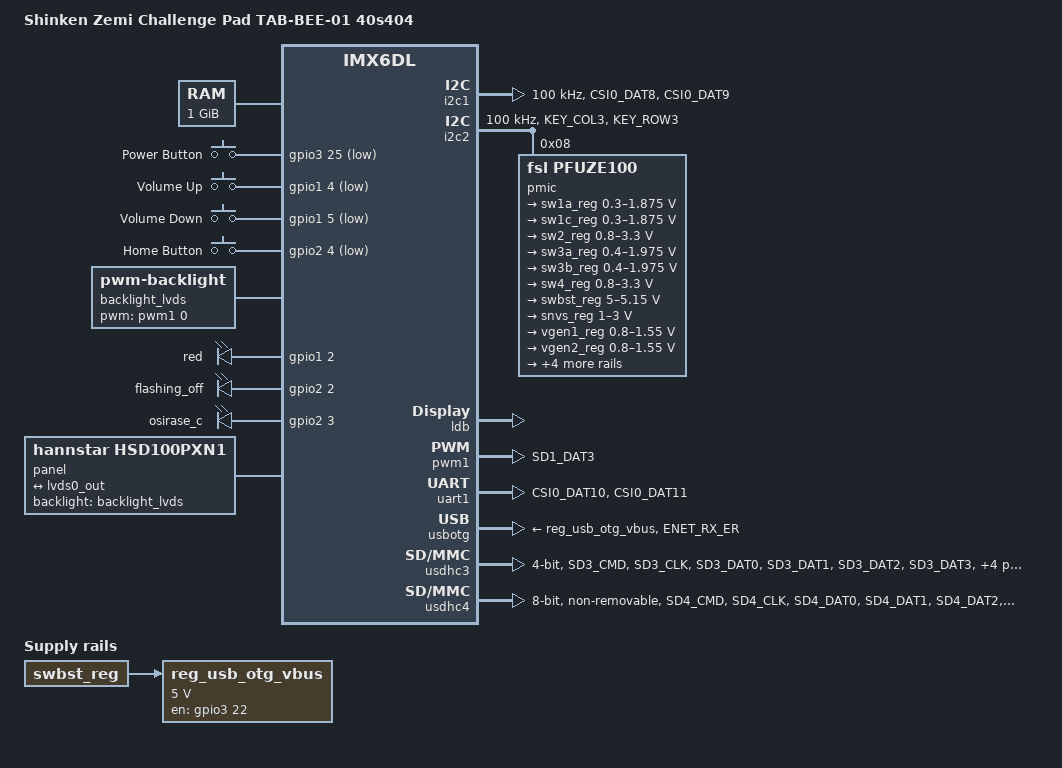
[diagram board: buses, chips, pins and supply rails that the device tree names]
// SPDX-License-Identifier: GPL-2.0
//
// Copyright (C) 2022 Suguru Saito <sg.sgch07@gmail.com>
//
// Copyright (C) 2013 Freescale Semiconductor, Inc.

/dts-v1/;

#include "imx6dl.dtsi"

#include <dt-bindings/clock/imx6qdl-clock.h>
#include <dt-bindings/gpio/gpio.h>
#include <dt-bindings/input/input.h>

/ {
	model = "Shinken Zemi Challenge Pad TAB-BEE-01 40s404";
	compatible = "benesse,imx6dl-40s404", "fsl,imx6dl";

	chosen {
		stdout-path = &uart1;
	};

	memory@10000000 {
		reg = <0x10000000 0x40000000>;
	};

	regulators {
		compatible = "simple-bus";
		#address-cells = <1>;
		#size-cells = <0>;

		reg_usb_otg_vbus: regulator@0 {
			compatible = "regulator-fixed";
			reg = <0>;
			regulator-name = "usb_otg_vbus";
			regulator-min-microvolt = <5000000>;
			regulator-max-microvolt = <5000000>;
			gpio = <&gpio3 22 0>;
			enable-active-high;
			vin-supply = <&swbst_reg>;
		};
	};

	gpio-keys {
		compatible = "gpio-keys";
		pinctrl-names = "default";
		pinctrl-0 = <&pinctrl_gpio_keys>;

		power {
			label = "Power Button";
			gpios = <&gpio3 25 GPIO_ACTIVE_LOW>;
			wakeup-source;
			linux,code = <KEY_POWER>;
		};

		volume-up {
			label = "Volume Up";
			gpios = <&gpio1 4 GPIO_ACTIVE_LOW>;
			wakeup-source;
			linux,code = <KEY_VOLUMEUP>;
		};

		volume-down {
			label = "Volume Down";
			gpios = <&gpio1 5 GPIO_ACTIVE_LOW>;
			wakeup-source;
			linux,code = <KEY_VOLUMEDOWN>;
		};

		home {
			label = "Home Button";
			gpios = <&gpio2 4 GPIO_ACTIVE_LOW>;
			wakeup-source;
			linux,code = <KEY_HOME>;
		};
	};

	backlight_lvds: backlight-lvds {
		compatible = "pwm-backlight";
		pwms = <&pwm1 0 5000000>;
		brightness-levels = <0 4 8 16 32 64 128 255>;
		default-brightness-level = <7>;
		status = "okay";
	};

	leds {
		compatible = "gpio-leds";
		pinctrl-names = "default";
		pinctrl-0 = <&pinctrl_gpio_leds>;

		red {
			gpios = <&gpio1 2 GPIO_ACTIVE_HIGH>;
			default-state = "off";
		};

		flashing_off {
			gpios = <&gpio2 2 GPIO_ACTIVE_HIGH>;
			default-state = "off";
		};

		osirase_c {
			gpios = <&gpio2 3 GPIO_ACTIVE_HIGH>;
			default-state = "off";
		};
	};

	panel {
		compatible = "hannstar,hsd100pxn1";
		backlight = <&backlight_lvds>;

		port {
			panel_in: endpoint {
				remote-endpoint = <&lvds0_out>;
			};
		};
	};
};

&clks {
	assigned-clocks = <&clks IMX6QDL_CLK_LDB_DI0_SEL>,
			  <&clks IMX6QDL_CLK_LDB_DI1_SEL>;
	assigned-clock-parents = <&clks IMX6QDL_CLK_PLL3_USB_OTG>,
				 <&clks IMX6QDL_CLK_PLL3_USB_OTG>;
};

&i2c1 {
	clock-frequency = <100000>;
	pinctrl-names = "default";
	pinctrl-0 = <&pinctrl_i2c1>;
	status = "okay";
};

&i2c2 {
	clock-frequency = <100000>;
	pinctrl-names = "default";
	pinctrl-0 = <&pinctrl_i2c2>;
	status = "okay";

	pmic: pfuze100@8 {
		compatible = "fsl,pfuze100";
		reg = <0x08>;

		regulators {
			sw1a_reg: sw1ab {
				regulator-min-microvolt = <300000>;
				regulator-max-microvolt = <1875000>;
				regulator-boot-on;
				regulator-always-on;
				regulator-ramp-delay = <6250>;
			};

			sw1c_reg: sw1c {
				regulator-min-microvolt = <300000>;
				regulator-max-microvolt = <1875000>;
				regulator-boot-on;
				regulator-always-on;
				regulator-ramp-delay = <6250>;
			};

			sw2_reg: sw2 {
				regulator-min-microvolt = <800000>;
				regulator-max-microvolt = <3300000>;
				regulator-boot-on;
				regulator-always-on;
				regulator-ramp-delay = <6250>;
			};

			sw3a_reg: sw3a {
				regulator-min-microvolt = <400000>;
				regulator-max-microvolt = <1975000>;
				regulator-boot-on;
				regulator-always-on;
			};

			sw3b_reg: sw3b {
				regulator-min-microvolt = <400000>;
				regulator-max-microvolt = <1975000>;
				regulator-boot-on;
				regulator-always-on;
			};

			sw4_reg: sw4 {
				regulator-min-microvolt = <800000>;
				regulator-max-microvolt = <3300000>;
				regulator-always-on;
			};

			swbst_reg: swbst {
				regulator-min-microvolt = <5000000>;
				regulator-max-microvolt = <5150000>;
			};

			snvs_reg: vsnvs {
				regulator-min-microvolt = <1000000>;
				regulator-max-microvolt = <3000000>;
			};

			vref_reg: vrefddr {
				regulator-boot-on;
				regulator-always-on;
			};

			vgen1_reg: vgen1 {
				regulator-min-microvolt = <800000>;
				regulator-max-microvolt = <1550000>;
				regulator-always-on;
			};

			vgen2_reg: vgen2 {
				regulator-min-microvolt = <800000>;
				regulator-max-microvolt = <1550000>;
				regulator-always-on;
			};

			vgen3_reg: vgen3 {
				regulator-min-microvolt = <1800000>;
				regulator-max-microvolt = <3300000>;
				regulator-always-on;
			};

			vgen4_reg: vgen4 {
				regulator-min-microvolt = <1800000>;
				regulator-max-microvolt = <3300000>;
				regulator-always-on;
			};

			vgen5_reg: vgen5 {
				regulator-min-microvolt = <1800000>;
				regulator-max-microvolt = <3300000>;
				regulator-always-on;
			};

			vgen6_reg: vgen6 {
				regulator-min-microvolt = <1800000>;
				regulator-max-microvolt = <3300000>;
				regulator-always-on;
			};
		};
	};
};

&iomuxc {
	pinctrl-names = "default";
	pinctrl-0 = <&pinctrl_hog>;

	imx6dl-40s404 {
		pinctrl_hog: hoggrp {
			fsl,pins = <
				MX6QDL_PAD_ENET_TXD0__GPIO1_IO30	0x1b0b0 /* LCD_POWER */
				MX6QDL_PAD_NANDF_WP_B__GPIO6_IO09	0x1b0b0 /* LCD_BACKLIGHT_POWER */
				MX6QDL_PAD_NANDF_RB0__GPIO6_IO10	0x1b0b0 /* AUX_5V_ENABLE */
			>;
		};

		pinctrl_gpio_keys: gpio_keysgrp {
			fsl,pins = <
				MX6QDL_PAD_EIM_D25__GPIO3_IO25  	0x1b0b0 /* Power */
				MX6QDL_PAD_GPIO_4__GPIO1_IO04   	0x1b0b0 /* Vol Up */
				MX6QDL_PAD_GPIO_5__GPIO1_IO05		0x1b0b0 /* Vol Down */
				MX6QDL_PAD_NANDF_D4__GPIO2_IO04		0x1b0b0 /* Home */
			>;
		};

		pinctrl_i2c1: i2c1grp {
			fsl,pins = <
				MX6QDL_PAD_CSI0_DAT8__I2C1_SDA		0x4001b8b1
				MX6QDL_PAD_CSI0_DAT9__I2C1_SCL		0x4001b8b1
			>;
		};

		pinctrl_i2c2: i2c2grp {
			fsl,pins = <
				MX6QDL_PAD_KEY_COL3__I2C2_SCL		0x4001b8b1
				MX6QDL_PAD_KEY_ROW3__I2C2_SDA		0x4001b8b1
			>;
		};

		pinctrl_pwm1: pwm1grp {
			fsl,pins = <
				MX6QDL_PAD_SD1_DAT3__PWM1_OUT		0x17059
			>;
		};

		pinctrl_uart1: uart1grp {
			fsl,pins = <
				MX6QDL_PAD_CSI0_DAT10__UART1_TX_DATA	0x1b0b1
				MX6QDL_PAD_CSI0_DAT11__UART1_RX_DATA	0x1b0b1
			>;
		};

		pinctrl_usbotg: usbotggrp {
			fsl,pins = <
				MX6QDL_PAD_ENET_RX_ER__USB_OTG_ID	0x17059
			>;
		};

		pinctrl_usdhc3: usdhc3grp {
			fsl,pins = <
				MX6QDL_PAD_SD3_CMD__SD3_CMD			0x17059
				MX6QDL_PAD_SD3_CLK__SD3_CLK			0x17059
				MX6QDL_PAD_SD3_DAT0__SD3_DATA0		0x17059
				MX6QDL_PAD_SD3_DAT1__SD3_DATA1		0x17059
				MX6QDL_PAD_SD3_DAT2__SD3_DATA2		0x17059
				MX6QDL_PAD_SD3_DAT3__SD3_DATA3		0x17059
				MX6QDL_PAD_NANDF_D0__GPIO2_IO00		0x1b0b0 /* CD */
				MX6QDL_PAD_NANDF_D1__GPIO2_IO01		0x1b0b0 /* WP */
			>;
		};

		pinctrl_usdhc4: usdhc4grp {
			fsl,pins = <
				MX6QDL_PAD_SD4_CMD__SD4_CMD			0x17059
				MX6QDL_PAD_SD4_CLK__SD4_CLK			0x17059
				MX6QDL_PAD_SD4_DAT0__SD4_DATA0		0x17059
				MX6QDL_PAD_SD4_DAT1__SD4_DATA1		0x17059
				MX6QDL_PAD_SD4_DAT2__SD4_DATA2		0x17059
				MX6QDL_PAD_SD4_DAT3__SD4_DATA3		0x17059
				MX6QDL_PAD_SD4_DAT4__SD4_DATA4		0x17059
				MX6QDL_PAD_SD4_DAT5__SD4_DATA5		0x17059
				MX6QDL_PAD_SD4_DAT6__SD4_DATA6		0x17059
				MX6QDL_PAD_SD4_DAT7__SD4_DATA7		0x17059
			>;
		};

		pinctrl_wdog: wdoggrp {
			fsl,pins = <
				MX6QDL_PAD_GPIO_1__WDOG2_B		0x1b0b0
			>;
		};
	};

	gpio_leds {
		pinctrl_gpio_leds: gpioledsgrp {
			fsl,pins = <
				MX6QDL_PAD_GPIO_2__GPIO1_IO02   0x1b0b0 /* USR_DEF_RED_LED */
				MX6QDL_PAD_NANDF_D2__GPIO2_IO02 0x1b0b0 /* Flashing_off */
				MX6QDL_PAD_NANDF_D3__GPIO2_IO03 0x1b0b0 /* osirase_c */
			>;
		};
	};
};

&ldb {
	status = "okay";

	lvds-channel@1 {
		fsl,data-mapping = "spwg";
		fsl,data-width = <18>;
		status = "okay";

		port@4 {
			reg = <4>;

			lvds0_out: endpoint {
				remote-endpoint = <&panel_in>;
			};
		};
	};
};

&pwm1 {
	pinctrl-names = "default";
	pinctrl-0 = <&pinctrl_pwm1>;
	status = "okay";
};

&reg_arm {
       vin-supply = <&sw1a_reg>;
};

&reg_pu {
       vin-supply = <&sw1c_reg>;
};

&reg_soc {
       vin-supply = <&sw1c_reg>;
};

&uart1 {
	pinctrl-names = "default";
	pinctrl-0 = <&pinctrl_uart1>;
	status = "okay";
};

&usbotg {
	vbus-supply = <&reg_usb_otg_vbus>;
	pinctrl-names = "default";
	pinctrl-0 = <&pinctrl_usbotg>;
	disable-over-current;
	status = "okay";
};

&usdhc3 {
	pinctrl-names = "default";
	pinctrl-0 = <&pinctrl_usdhc3>;
	bus-width = <4>;
	cd-gpios = <&gpio2 0 GPIO_ACTIVE_LOW>;
	wp-gpios = <&gpio2 1 GPIO_ACTIVE_HIGH>;
	status = "okay";
};

&usdhc4 {
	pinctrl-names = "default";
	pinctrl-0 = <&pinctrl_usdhc4>;
	bus-width = <8>;
	non-removable;
	no-1-8-v;
	status = "okay";
};
